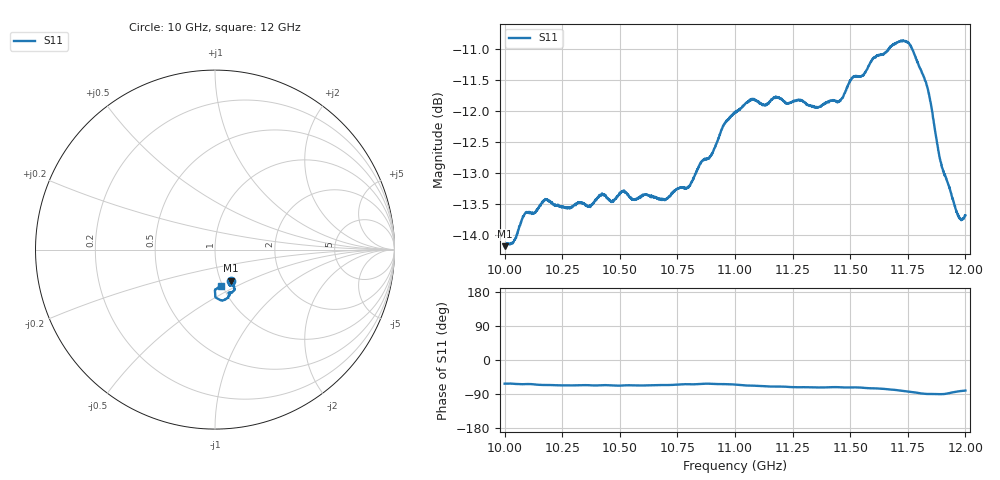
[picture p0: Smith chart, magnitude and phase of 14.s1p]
[Version] 2.0
! Rohde & Schwarz Vector Network Analyzer
! Rohde-Schwarz,ZNL20-2Port,1323001220200009,1.71.1.10-23.02.1.238
! Port Assignments:
! Nominal Port -> Actual Test Port
!  1 -> 1
! Created: GMT 2024-09-04 14:21:24
# Hz S DB R 50
[Number of Ports] 1
! freq[Hz]  S11[mag dB]  S11[ang]
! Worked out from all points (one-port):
!   2001 points, 10 GHz to 12 GHz, reference 50 ohm
!   lowest |S11| = -14.2 dB at 10 GHz (marker M1), VSWR 1.49, Z = 56.1 - j20.2 ohm
!   |S11| at or under -10 dB: start of sweep to end of sweep
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[Number of Frequencies] 28
[Network Data]
1e10  -14.18 -62.5
1.0041e10  -14.08 -62.9
1.0089e10  -13.65 -63.5
1.0172e10  -13.44 -65.9
1.025e10  -13.54 -66.9
1.0371e10  -13.53 -66.8
1.0424e10  -13.35 -66.5
1.0468e10  -13.46 -67.1
1.05e10  -13.32 -67.5
1.069e10  -13.42 -66.2
1.075e10  -13.26 -64.8
1.0801e10  -13.21 -64.0
1.0872e10  -12.78 -62.5
1.0902e10  -12.68 -63.0
1.0956e10  -12.19 -63.7
1.1e10  -12.01 -64.9
1.1072e10  -11.81 -67.7
1.125e10  -11.85 -71.6
1.1354e10  -11.95 -72.3
1.1448e10  -11.84 -71.8
1.15e10  -11.50 -72.5
1.1632e10  -11.09 -75.5
1.175e10  -10.90 -82.8
1.1832e10  -11.59 -89.5
1.189e10  -12.78 -90.2
1.1914e10  -13.05 -89.3
1.1967e10  -13.66 -83.1
1.2e10  -13.68 -80.5
[End]
